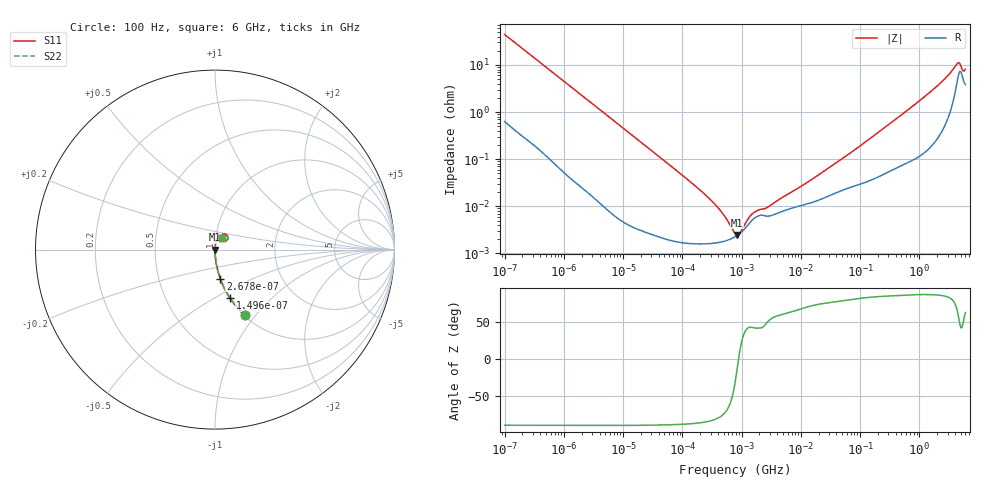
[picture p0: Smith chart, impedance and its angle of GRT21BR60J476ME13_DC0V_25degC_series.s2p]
!Murata Part Number: GRT21BR60J476ME13
!These Parameters are Measured in Series Mode Connection
!  o--ll--o
!Port1  Port2
!  o------o
!Operation Temp=25[degC], DC Bias Voltage=0[V]
!Freq. Start=100[Hz] Stop=6[GHz], 401[Steps]
!Data Generated on Dec 2, 2019
# Hz S RI R 50
!Freq.(Hz) S11(Real) S11(Imag) S21(Real) S21(Imag) S12(Real) S12(Imag) S22(Real) S22(Imag)
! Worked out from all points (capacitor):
!   401 points, 100 Hz to 6 GHz, reference 50 ohm
!   read as one part in series: C = 35.8 uF near 109.4 Hz
!   lowest |Z| = 2.47 mohm at 847.2 kHz (marker M1)
!   series resonance near 890.5 kHz, so ESL is about 890 pH
!   S11 on the Smith chart (normalised r, x): 100 Hz: 1.01, -0.89; 149.6 Hz: 1.01, -0.59; 267.8 Hz: 1.00, -0.33; 6 GHz: 1.08, +0.14
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100  0.1675 -0.3664  0.8325 0.3664  0.8325 0.3664  0.1675 -0.3664
149.6265  0.0842 -0.2709  0.9158 0.2709  0.9158 0.2709  0.0842 -0.2709
267.7924  0.0292 -0.1616  0.9708 0.1616  0.9708 0.1616  0.0292 -0.1616
626.9898  0.00602 -0.0713  0.994 0.0713  0.994 0.0713  0.00602 -0.0713
2008.354  0.000758 -0.0226  0.9992 0.0226  0.9992 0.0226  0.000758 -0.0226
40334.87  2.37e-05 -0.00114  1 0.00114  1 0.00114  2.37e-05 -0.00114
161617.1  1.61e-05 -0.000277  1 0.000277  1 0.000277  1.61e-05 -0.000277
378398.6  1.68e-05 -0.0001  1 0.0001  1 0.0001  1.68e-05 -0.0001
432798.5  1.73e-05 -8.15e-05  1 8.15e-05  1 8.15e-05  1.73e-05 -8.15e-05
774596.7  2.25e-05 -1.44e-05  1 1.44e-05  1 1.44e-05  2.25e-05 -1.44e-05
847161.8  2.42e-05 -5.12e-06  1 5.12e-06  1 5.12e-06  2.42e-05 -5.12e-06
2594782  6.22e-05 6.74e-05  0.9999 -6.74e-05  0.9999 -6.74e-05  6.22e-05 6.74e-05
2967816  6.24e-05 8.05e-05  0.9999 -8.05e-05  0.9999 -8.05e-05  6.24e-05 8.05e-05
1.555665e7  0.000121 0.000357  0.9999 -0.000357  0.9999 -0.000357  0.000121 0.000357
7.797396e7  0.000268 0.0015  0.9997 -0.0015  0.9997 -0.0015  0.000268 0.0015
3.124326e8  0.00058 0.00554  0.9994 -0.00554  0.9994 -0.00554  0.00058 0.00554
1.873145e9  0.00347 0.0329  0.9965 -0.0329  0.9965 -0.0329  0.00347 0.0329
2.931063e9  0.00959 0.0553  0.9904 -0.0553  0.9904 -0.0553  0.00959 0.0553
4.193612e9  0.0411 0.0871  0.9589 -0.0871  0.9589 -0.0871  0.0411 0.0871
4.586474e9  0.065 0.0825  0.935 -0.0825  0.935 -0.0825  0.065 0.0825
5.486059e9  0.0502 0.0503  0.9498 -0.0503  0.9498 -0.0503  0.0502 0.0503
6e9  0.041 0.0661  0.959 -0.0661  0.959 -0.0661  0.041 0.0661
